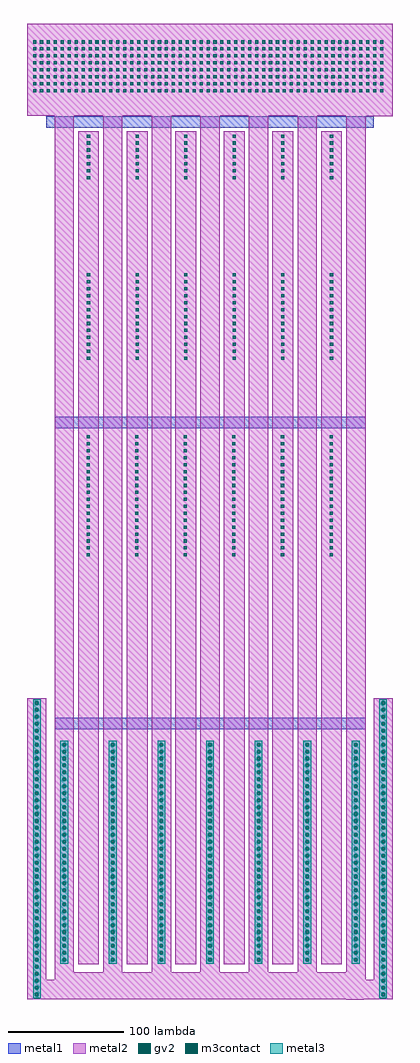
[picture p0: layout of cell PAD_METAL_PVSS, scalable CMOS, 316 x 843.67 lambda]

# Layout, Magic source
magic
tech scmos
magscale 1 6
<< metal1 >>
rect 352 4520 2048 4580
rect 394 2960 2007 3020
rect 394 1400 2007 1460
<< metal2 >>
rect 252 4581 2148 5060
rect 252 100 352 1560
rect 394 140 494 4581
rect 516 180 624 4500
rect 646 140 746 4581
rect 768 180 876 4500
rect 898 140 998 4581
rect 1020 180 1128 4500
rect 1150 140 1250 4581
rect 1272 180 1380 4500
rect 1402 140 1502 4581
rect 1524 180 1632 4500
rect 1654 140 1754 4581
rect 1906 4579 2148 4581
rect 1776 180 1884 4500
rect 1906 140 2007 4579
rect 394 100 2007 140
rect 2048 100 2148 1560
rect 252 0 2148 100
rect 1906 -2 1998 0
use VIA2  VIA2_0
array 0 50 36 0 7 36
transform 1 0 290 0 1 4712
box -8 -8 8 8
use VIA2  VIA2_1
array 0 0 0 0 17 36
transform 1 0 820 0 1 2304
box -8 -8 8 8
use VIA2  VIA2_2
array 0 0 0 0 17 36
transform 1 0 568 0 1 2304
box -8 -8 8 8
use VIA2  VIA2_3
array 0 0 0 0 17 36
transform 1 0 1828 0 1 2304
box -8 -8 8 8
use VIA2  VIA2_4
array 0 0 0 0 12 36
transform 1 0 1578 0 1 3324
box -8 -8 8 8
use VIA2  VIA2_5
array 0 0 0 0 12 36
transform 1 0 1326 0 1 3324
box -8 -8 8 8
use VIA2  VIA2_6
array 0 0 0 0 12 36
transform 1 0 570 0 1 3324
box -8 -8 8 8
use VIA2  VIA2_7
array 0 0 0 0 6 36
transform 1 0 822 0 1 4260
box -8 -8 8 8
use VIA2  VIA2_8
array 0 0 0 0 6 36
transform 1 0 1578 0 1 4260
box -8 -8 8 8
use VIA2  VIA2_9
array 0 0 0 0 17 36
transform 1 0 1072 0 1 2304
box -8 -8 8 8
use VIA2  VIA2_10
array 0 0 0 0 6 36
transform 1 0 1830 0 1 4260
box -8 -8 8 8
use VIA2  VIA2_11
array 0 0 0 0 6 36
transform 1 0 1074 0 1 4260
box -8 -8 8 8
use VIA2  VIA2_12
array 0 0 0 0 12 36
transform 1 0 1074 0 1 3324
box -8 -8 8 8
use VIA2  VIA2_13
array 0 0 0 0 12 36
transform 1 0 1830 0 1 3324
box -8 -8 8 8
use VIA2  VIA2_14
array 0 0 0 0 17 36
transform 1 0 1576 0 1 2304
box -8 -8 8 8
use VIA2  VIA2_15
array 0 0 0 0 17 36
transform 1 0 1324 0 1 2304
box -8 -8 8 8
use VIA2  VIA2_16
array 0 0 0 0 12 36
transform 1 0 822 0 1 3324
box -8 -8 8 8
use VIA2  VIA2_17
array 0 0 0 0 6 36
transform 1 0 570 0 1 4260
box -8 -8 8 8
use VIA2  VIA2_18
array 0 0 0 0 6 36
transform 1 0 1326 0 1 4260
box -8 -8 8 8
use via2_array_CDNS_704676826052  via2_array_CDNS_704676826052_0
array 0 0 0 0 42 36
transform 1 0 2078 0 1 4
box 0 0 40 40
use via2_array_CDNS_704676826052  via2_array_CDNS_704676826052_1
array 0 6 252 0 31 36
transform 1 0 424 0 1 184
box 0 0 40 40
use via2_array_CDNS_704676826052  via2_array_CDNS_704676826052_2
array 0 0 0 0 42 36
transform 1 0 282 0 1 4
box 0 0 40 40
<< end >>

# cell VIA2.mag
magic
tech scmos
magscale 1 3
<< gv2 >>
rect -4 -4 4 4
<< end >>

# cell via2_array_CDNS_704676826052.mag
magic
tech scmos
magscale 1 3
<< metal2 >>
rect 0 14 20 20
rect 0 6 6 14
rect 14 6 20 14
rect 0 0 20 6
<< m3contact >>
rect 6 6 14 14
<< metal3 >>
rect 0 14 20 20
rect 0 6 6 14
rect 14 6 20 14
rect 0 0 20 6
<< end >>
